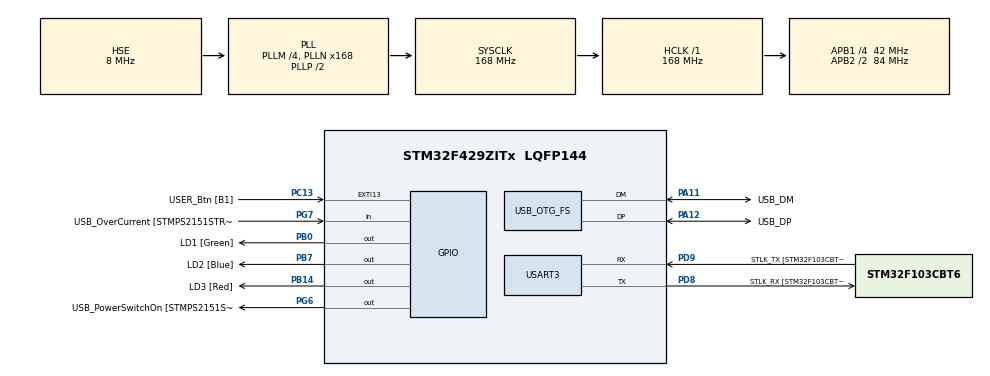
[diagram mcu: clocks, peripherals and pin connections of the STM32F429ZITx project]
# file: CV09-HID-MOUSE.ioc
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Mcu.Family=STM32F4
Mcu.Name=STM32F429ZITx
Mcu.Package=LQFP144
NVIC.OTG_FS_IRQn=true\:0\:0\:false\:false\:true\:false\:true\:true
NVIC.PriorityGroup=NVIC_PRIORITYGROUP_4
PA1.GPIO_Label=RMII_REF_CLK [LAN8742A-CZ-TR_REFCLK0]
PA1.Signal=ETH_REF_CLK
PA10.GPIO_Label=USB_ID
PA10.Signal=USB_OTG_FS_ID
PA11.GPIO_Label=USB_DM
PA11.Mode=Device_Only
PA11.Signal=USB_OTG_FS_DM
PA12.GPIO_Label=USB_DP
PA12.Mode=Device_Only
PA12.Signal=USB_OTG_FS_DP
PA13.GPIO_Label=TMS
PA13.Mode=Serial_Wire
PA13.Signal=SYS_JTMS-SWDIO
PA14.GPIO_Label=TCK
PA14.Mode=Serial_Wire
PA14.Signal=SYS_JTCK-SWCLK
PA2.GPIO_Label=RMII_MDIO [LAN8742A-CZ-TR_MDIO]
PA2.Signal=ETH_MDIO
PA7.GPIO_Label=RMII_CRS_DV [LAN8742A-CZ-TR_CRS_DV]
PA7.Signal=ETH_CRS_DV
PA8.GPIO_Label=USB_SOF [TP1]
PA8.Signal=USB_OTG_FS_SOF
PA9.GPIO_Label=USB_VBUS
PA9.Signal=USB_OTG_FS_VBUS
PB0.GPIO_Label=LD1 [Green]
PB0.Signal=GPIO_Output
PB13.GPIO_Label=RMII_TXD1 [LAN8742A-CZ-TR_TXD1]
PB13.Signal=ETH_TXD1
PB14.GPIO_Label=LD3 [Red]
PB14.Signal=GPIO_Output
PB7.GPIO_Label=LD2 [Blue]
PB7.Signal=GPIO_Output
PC1.GPIO_Label=RMII_MDC [LAN8742A-CZ-TR_MDC]
PC1.Signal=ETH_MDC
PC13.GPIO_Label=USER_Btn [B1]
PC13.Signal=GPXTI13
PC14/OSC32_IN.Mode=LSE-External-Oscillator
PC14/OSC32_IN.Signal=RCC_OSC32_IN
PC15/OSC32_OUT.Mode=LSE-External-Oscillator
PC15/OSC32_OUT.Signal=RCC_OSC32_OUT
PC4.GPIO_Label=RMII_RXD0 [LAN8742A-CZ-TR_RXD0]
PC4.Signal=ETH_RXD0
PC5.GPIO_Label=RMII_RXD1 [LAN8742A-CZ-TR_RXD1]
PC5.Signal=ETH_RXD1
PD8.GPIO_Label=STLK_RX [STM32F103CBT6_PA3]
PD8.Mode=Asynchronous
PD8.Signal=USART3_TX
PD9.GPIO_Label=STLK_TX [STM32F103CBT6_PA2]
PD9.Mode=Asynchronous
PD9.Signal=USART3_RX
PG11.GPIO_Label=RMII_TX_EN [LAN8742A-CZ-TR_TXEN]
PG11.Signal=ETH_TX_EN
PG13.GPIO_Label=RMII_TXD0 [LAN8742A-CZ-TR_TXD0]
PG13.Signal=ETH_TXD0
PG6.GPIO_Label=USB_PowerSwitchOn [STMPS2151STR_EN]
PG6.Signal=GPIO_Output
PG7.GPIO_Label=USB_OverCurrent [STMPS2151STR_FAULT]
PG7.Signal=GPIO_Input
PH0/OSC_IN.GPIO_Label=MCO [STM32F103CBT6_PA8]
PH0/OSC_IN.Mode=HSE-External-Clock-Source
PH0/OSC_IN.Signal=RCC_OSC_IN
PH1/OSC_OUT.Mode=HSE-External-Clock-Source
PH1/OSC_OUT.Signal=RCC_OSC_OUT
ProjectManager.HeapSize=0x200
ProjectManager.StackSize=0x400
ProjectManager.TargetToolchain=STM32CubeIDE
RCC.48MHZClocksFreq_Value=48000000
RCC.AHBFreq_Value=168000000
RCC.APB1CLKDivider=RCC_HCLK_DIV4
RCC.APB1Freq_Value=42000000
RCC.APB1TimFreq_Value=84000000
RCC.APB2CLKDivider=RCC_HCLK_DIV2
RCC.APB2Freq_Value=84000000
RCC.APB2TimCLKDivider=2
RCC.APB2TimFreq_Value=168000000
RCC.CortexFreq_Value=168000000
RCC.HCLKFreq_Value=168000000
RCC.HSE_VALUE=8000000
RCC.HSI_VALUE=16000000
RCC.PLLM=4
RCC.PLLMUL=RCC_PLL_MUL9
RCC.PLLN=168
RCC.PLLQ=7
RCC.PRESCALERUSB=RCC_USBCLKSOURCE_PLL_DIV1_5
RCC.SYSCLKFreq_VALUE=168000000
RCC.SYSCLKSource=RCC_SYSCLKSOURCE_PLLCLK
RCC.SYSCLKSourceVirtual=RCC_SYSCLKSOURCE_PLLCLK
RCC.USBFreq_Value=48000000
RCC.VCOOutputFreq_Value=336000000
USART3.VirtualMode=VM_ASYNC
USB_DEVICE.CLASS_NAME_FS=HID
USB_DEVICE.VirtualMode-HID_FS=Hid
USB_DEVICE.VirtualModeFS=Hid_FS
USB_OTG_FS.VirtualMode=Device_Only
VP_USB_DEVICE_VS_USB_DEVICE_HID_FS.Mode=HID_FS
board=NUCLEO-F429ZI

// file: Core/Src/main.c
/* USER CODE BEGIN Header */
/**
 ******************************************************************************
 * @file           : main.c
 * @brief          : Main program body
 ******************************************************************************
 * @attention
 *
 * Copyright (c) 2024 STMicroelectronics.
 * All rights reserved.
 *
 * This software is licensed under terms that can be found in the LICENSE file
 * in the root directory of this software component.
 * If no LICENSE file comes with this software, it is provided AS-IS.
 *
 ******************************************************************************
 */
/* USER CODE END Header */
#include "main.h"
#include "usb_device.h"

/* USER CODE BEGIN Includes */
#include "usbd_hid.h"
#include <math.h>
/* USER CODE END Includes */

UART_HandleTypeDef huart3;

/* USER CODE BEGIN PV */
extern USBD_HandleTypeDef hUsbDeviceFS;
/* USER CODE END PV */

void SystemClock_Config(void);
static void MX_GPIO_Init(void);
static void MX_USART3_UART_Init(void);

/* USER CODE BEGIN 0 */
// Transmit mouse report
static void moveCursor(int8_t deltaX, int8_t deltaY, int8_t buttonState) {
	uint8_t report[4];
	report[0] = buttonState; // 1: left button, 2: right button, 0: none
	report[1] = (int8_t) deltaX; // X movement
	report[2] = (int8_t) deltaY; // Y movement
	report[3] = 0; // Scroll wheel, 0: no movement
	USBD_HID_SendReport(&hUsbDeviceFS, report, sizeof(report));
	HAL_Delay(USBD_HID_GetPollingInterval(&hUsbDeviceFS));
}

// Draw a complete circle of radius radiusValue
static void drawCircle(int8_t radiusValue) {
	for (int angle = 0; angle <= 360; angle++) {
		float radians = angle * M_PI / 180.0;
		moveCursor(radiusValue * cosf(radians), radiusValue * sinf(radians), 1);
	}
	moveCursor(0, 0, 0);
}

// Draw a semi-circle (smile) with given radius
static void drawSmile(int8_t smileRadius) {
	for (int angle = 90; angle < 270; angle++) {
		float radians = angle * M_PI / 180.0;
		moveCursor(smileRadius * cosf(radians), smileRadius * sinf(radians), 1);
	}
	moveCursor(0, 0, 0);
}

/* USER CODE END 0 */

int main(void) {

	/* MCU Configuration--------------------------------------------------------*/

	/* Reset of all peripherals, Initializes the Flash interface and the Systick. */
	HAL_Init();

	/* Configure the system clock */
	SystemClock_Config();

	/* Initialize all configured peripherals */
	MX_GPIO_Init();
	MX_USART3_UART_Init();
	MX_USB_DEVICE_Init();

	/* Infinite loop */
	/* USER CODE BEGIN WHILE */
	while (1) {
		if (HAL_GPIO_ReadPin(USER_Btn_GPIO_Port, USER_Btn_Pin)) {
			HAL_GPIO_WritePin(LD1_GPIO_Port, LD1_Pin, 1);
			//HEAD
			drawCircle(4);

			//EYES
			moveCursor(-40, 30, 0); // move to the position of the left eye
			drawCircle(2);      // draw left eye
			moveCursor(80, 0, 0);   // move to the position of the right eye
			drawCircle(2);      // draw right eye

			//NOSE
			moveCursor(-40, 40, 0); // move to the position of the nose
			moveCursor(0, 0, 1);    // click the left button
			moveCursor(0, 30, 1);   // draw the nose
			moveCursor(-20, 0, 1);   // draw the nose
			moveCursor(0, 0, 0);    // release the left button

			//MOUTH
			moveCursor(20, 12, 0);  // move to the position of the mouth
			drawSmile(2);       // draw the mouth
			HAL_GPIO_WritePin(LD1_GPIO_Port, LD1_Pin, 0);
		}
		/* USER CODE END WHILE */

	}
}

void SystemClock_Config(void) {
	RCC_OscInitTypeDef RCC_OscInitStruct = { 0 };
	RCC_ClkInitTypeDef RCC_ClkInitStruct = { 0 };

	/** Configure the main internal regulator output voltage
	 */
	__HAL_RCC_PWR_CLK_ENABLE();
	__HAL_PWR_VOLTAGESCALING_CONFIG(PWR_REGULATOR_VOLTAGE_SCALE1);

	/** Initializes the RCC Oscillators according to the specified parameters
	 * in the RCC_OscInitTypeDef structure.
	 */
	RCC_OscInitStruct.OscillatorType = RCC_OSCILLATORTYPE_HSE;
	RCC_OscInitStruct.HSEState = RCC_HSE_BYPASS;
	RCC_OscInitStruct.PLL.PLLState = RCC_PLL_ON;
	RCC_OscInitStruct.PLL.PLLSource = RCC_PLLSOURCE_HSE;
	RCC_OscInitStruct.PLL.PLLM = 4;
	RCC_OscInitStruct.PLL.PLLN = 168;
	RCC_OscInitStruct.PLL.PLLP = RCC_PLLP_DIV2;
	RCC_OscInitStruct.PLL.PLLQ = 7;
	if (HAL_RCC_OscConfig(&RCC_OscInitStruct) != HAL_OK) {
		Error_Handler();
	}

	/** Initializes the CPU, AHB and APB buses clocks
	 */
	RCC_ClkInitStruct.ClockType = RCC_CLOCKTYPE_HCLK | RCC_CLOCKTYPE_SYSCLK
			| RCC_CLOCKTYPE_PCLK1 | RCC_CLOCKTYPE_PCLK2;
	RCC_ClkInitStruct.SYSCLKSource = RCC_SYSCLKSOURCE_PLLCLK;
	RCC_ClkInitStruct.AHBCLKDivider = RCC_SYSCLK_DIV1;
	RCC_ClkInitStruct.APB1CLKDivider = RCC_HCLK_DIV4;
	RCC_ClkInitStruct.APB2CLKDivider = RCC_HCLK_DIV2;

	if (HAL_RCC_ClockConfig(&RCC_ClkInitStruct, FLASH_LATENCY_5) != HAL_OK) {
		Error_Handler();
	}
}

static void MX_USART3_UART_Init(void) {

	huart3.Instance = USART3;
	huart3.Init.BaudRate = 115200;
	huart3.Init.WordLength = UART_WORDLENGTH_8B;
	huart3.Init.StopBits = UART_STOPBITS_1;
	huart3.Init.Parity = UART_PARITY_NONE;
	huart3.Init.Mode = UART_MODE_TX_RX;
	huart3.Init.HwFlowCtl = UART_HWCONTROL_NONE;
	huart3.Init.OverSampling = UART_OVERSAMPLING_16;
	if (HAL_UART_Init(&huart3) != HAL_OK) {
		Error_Handler();
	}

}

static void MX_GPIO_Init(void) {
	GPIO_InitTypeDef GPIO_InitStruct = { 0 };

	/* GPIO Ports Clock Enable */
	__HAL_RCC_GPIOC_CLK_ENABLE();
	__HAL_RCC_GPIOH_CLK_ENABLE();
	__HAL_RCC_GPIOA_CLK_ENABLE();
	__HAL_RCC_GPIOB_CLK_ENABLE();
	__HAL_RCC_GPIOD_CLK_ENABLE();
	__HAL_RCC_GPIOG_CLK_ENABLE();

	/*Configure GPIO pin Output Level */
	HAL_GPIO_WritePin(GPIOB, LD1_Pin | LD3_Pin | LD2_Pin, GPIO_PIN_RESET);

	/*Configure GPIO pin Output Level */
	HAL_GPIO_WritePin(USB_PowerSwitchOn_GPIO_Port, USB_PowerSwitchOn_Pin,
			GPIO_PIN_RESET);

	/*Configure GPIO pin : USER_Btn_Pin */
	GPIO_InitStruct.Pin = USER_Btn_Pin;
	GPIO_InitStruct.Mode = GPIO_MODE_IT_RISING;
	GPIO_InitStruct.Pull = GPIO_NOPULL;
	HAL_GPIO_Init(USER_Btn_GPIO_Port, &GPIO_InitStruct);

	/*Configure GPIO pins : RMII_MDC_Pin RMII_RXD0_Pin RMII_RXD1_Pin */
	GPIO_InitStruct.Pin = RMII_MDC_Pin | RMII_RXD0_Pin | RMII_RXD1_Pin;
	GPIO_InitStruct.Mode = GPIO_MODE_AF_PP;
	GPIO_InitStruct.Pull = GPIO_NOPULL;
	GPIO_InitStruct.Speed = GPIO_SPEED_FREQ_VERY_HIGH;
	GPIO_InitStruct.Alternate = GPIO_AF11_ETH;
	HAL_GPIO_Init(GPIOC, &GPIO_InitStruct);

	/*Configure GPIO pins : RMII_REF_CLK_Pin RMII_MDIO_Pin RMII_CRS_DV_Pin */
	GPIO_InitStruct.Pin = RMII_REF_CLK_Pin | RMII_MDIO_Pin | RMII_CRS_DV_Pin;
	GPIO_InitStruct.Mode = GPIO_MODE_AF_PP;
	GPIO_InitStruct.Pull = GPIO_NOPULL;
	GPIO_InitStruct.Speed = GPIO_SPEED_FREQ_VERY_HIGH;
	GPIO_InitStruct.Alternate = GPIO_AF11_ETH;
	HAL_GPIO_Init(GPIOA, &GPIO_InitStruct);

	/*Configure GPIO pins : LD1_Pin LD3_Pin LD2_Pin */
	GPIO_InitStruct.Pin = LD1_Pin | LD3_Pin | LD2_Pin;
	GPIO_InitStruct.Mode = GPIO_MODE_OUTPUT_PP;
	GPIO_InitStruct.Pull = GPIO_NOPULL;
	GPIO_InitStruct.Speed = GPIO_SPEED_FREQ_LOW;
	HAL_GPIO_Init(GPIOB, &GPIO_InitStruct);

	/*Configure GPIO pin : RMII_TXD1_Pin */
	GPIO_InitStruct.Pin = RMII_TXD1_Pin;
	GPIO_InitStruct.Mode = GPIO_MODE_AF_PP;
	GPIO_InitStruct.Pull = GPIO_NOPULL;
	GPIO_InitStruct.Speed = GPIO_SPEED_FREQ_VERY_HIGH;
	GPIO_InitStruct.Alternate = GPIO_AF11_ETH;
	HAL_GPIO_Init(RMII_TXD1_GPIO_Port, &GPIO_InitStruct);

	/*Configure GPIO pin : USB_PowerSwitchOn_Pin */
	GPIO_InitStruct.Pin = USB_PowerSwitchOn_Pin;
	GPIO_InitStruct.Mode = GPIO_MODE_OUTPUT_PP;
	GPIO_InitStruct.Pull = GPIO_NOPULL;
	GPIO_InitStruct.Speed = GPIO_SPEED_FREQ_LOW;
	HAL_GPIO_Init(USB_PowerSwitchOn_GPIO_Port, &GPIO_InitStruct);

	/*Configure GPIO pin : USB_OverCurrent_Pin */
	GPIO_InitStruct.Pin = USB_OverCurrent_Pin;
	GPIO_InitStruct.Mode = GPIO_MODE_INPUT;
	GPIO_InitStruct.Pull = GPIO_NOPULL;
	HAL_GPIO_Init(USB_OverCurrent_GPIO_Port, &GPIO_InitStruct);

	/*Configure GPIO pins : RMII_TX_EN_Pin RMII_TXD0_Pin */
	GPIO_InitStruct.Pin = RMII_TX_EN_Pin | RMII_TXD0_Pin;
	GPIO_InitStruct.Mode = GPIO_MODE_AF_PP;
	GPIO_InitStruct.Pull = GPIO_NOPULL;
	GPIO_InitStruct.Speed = GPIO_SPEED_FREQ_VERY_HIGH;
	GPIO_InitStruct.Alternate = GPIO_AF11_ETH;
	HAL_GPIO_Init(GPIOG, &GPIO_InitStruct);

}

void Error_Handler(void) {
	__disable_irq();
	while (1) {
	}
}
